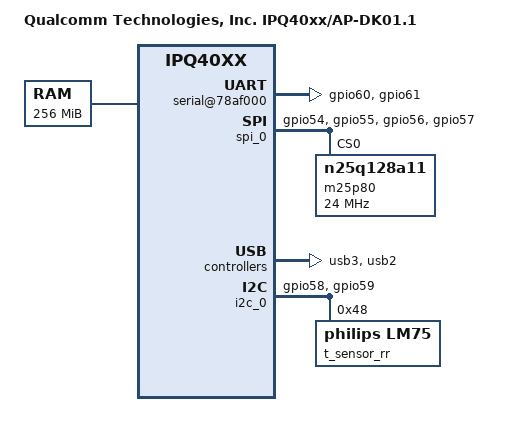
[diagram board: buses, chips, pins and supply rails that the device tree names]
/* Copyright (c) 2015, The Linux Foundation. All rights reserved.
 *
 * Permission to use, copy, modify, and/or distribute this software for any
 * purpose with or without fee is hereby granted, provided that the above
 * copyright notice and this permission notice appear in all copies.
 *
 * THE SOFTWARE IS PROVIDED "AS IS" AND THE AUTHOR DISCLAIMS ALL WARRANTIES
 * WITH REGARD TO THIS SOFTWARE INCLUDING ALL IMPLIED WARRANTIES OF
 * MERCHANTABILITY AND FITNESS. IN NO EVENT SHALL THE AUTHOR BE LIABLE FOR
 * ANY SPECIAL, DIRECT, INDIRECT, OR CONSEQUENTIAL DAMAGES OR ANY DAMAGES
 * WHATSOEVER RESULTING FROM LOSS OF USE, DATA OR PROFITS, WHETHER IN AN
 * ACTION OF CONTRACT, NEGLIGENCE OR OTHER TORTIOUS ACTION, ARISING OUT OF
 * OR IN CONNECTION WITH THE USE OR PERFORMANCE OF THIS SOFTWARE.
 *
 */

#include "qcom-ipq40xx.dtsi"
#include <dt-bindings/input/input.h>
#include <dt-bindings/gpio/gpio.h>

/ {
	model = "Qualcomm Technologies, Inc. IPQ40xx/AP-DK01.1";
	compatible = "qcom,ipq40xx-apdk01.1", "qcom,ipq40xx";

	memory {
		device_type = "memory";
		reg = <0x80000000 0x10000000>; /* 256MB */
	};

	reserved-memory {
		#address-cells = <1>;
		#size-cells = <1>;
		ranges;
		rsvd1@87000000 {
			/* Reserved for other subsystem */
			reg = <0x87000000 0x500000>;
			no-map;
		};
		wifi_dump@87500000 {
			reg = <0x87500000 0x600000>;
			no-map;
		};
		rsvd2@87B00000 {
			/* Reserved for other subsystem */
			reg = <0x87B00000 0x500000>;
			no-map;
		};
	};

	chosen {
		bootargs-append = " clk_ignore_unused";
	};

};
	&soc {
		pinctrl@0x01000000 {
			mdio_pins: mdio_pinmux {
				mux_1 {
					pins = "gpio53";
					function = "mdio1";
					bias-pull-up;
				};
				mux_2 {
					pins = "gpio52";
					function = "mdc";
					bias-pull-up;
				};
			};

			serial_pins: serial_pinmux {
				mux {
					pins = "gpio60", "gpio61";
					function = "blsp_uart0";
					bias-disable;
				};
			};

			spi_0_pins: spi_0_pinmux {
				mux {
					pins = "gpio54", "gpio55", "gpio56", "gpio57";
					function = "blsp_spi0";
					bias-disable;
				};
			};
			i2c_0_pins: i2c_0_pinmux {
				mux {
					pins = "gpio58", "gpio59";
					function = "blsp_i2c0";
					bias-disable;
				};
			};
			
			pps_pin: pps_pinmux {
				mux_pps {
					pin = "gpio5";
					input-enable;
				};
			};
			
			dgasp_pin: dgasp_pinmux {
				mux_dgasp {
					pin = "gpio63";
					input-enable;
				};
			};
						
			gpio_led_pins: gpio_led_pinmux {
				ap_status {
					pins = "gpio0";
					output-low;
				};
				wlan24 {
					pins = "gpio1";
                    output-low;
				};
				wlan5 {
					pins = "gpio2";
                    output-low;
				};
				lan1 {
					pins = "gpio4";
					output-low;
				};
			
			};
		};

		serial@78af000 {
			pinctrl-0 = <&serial_pins>;
			pinctrl-names = "default";
			status = "ok";
		};

		spi_0: spi@78b5000 { /* BLSP1 QUP1 */
			pinctrl-0 = <&spi_0_pins>;
			pinctrl-names = "default";
			status = "ok";

			m25p80@0 {
				#address-cells = <1>;
				#size-cells = <1>;
				compatible = "n25q128a11";
				reg = <0>;
				linux,modalias = "m25p80", "n25q128a11";
				spi-max-frequency = <24000000>;
				use-default-sizes;
			};
		};

		tcsr: tcsr@194b000 {
			status = "ok";
		};

		usb3_ss_phy: ssphy@0 {
			status = "ok";
		};

		dummy_ss_phy: ssphy@1 {
			status = "ok";
		};

		usb3_hs_phy: hsphy@a6000 {
			status = "ok";
		};

		usb2_hs_phy: hsphy@a8000 {
			status = "ok";
		};

		usb3: usb3@8a00000 {
			status = "ok";
		};

		usb2: usb2@6000000 {
			status = "ok";
		};

		qcom_crypto: qcrypto@8e20000 {
			status = "ok";
		};

		qcom_cedev: qcedev@8e20000 {
			status = "ok";
		};

		ess-switch@c000000 {
			switch_mac_mode = <0x0>; /* mac mode for RGMII RMII */
			switch_initvlas = <
				0x0007c 0x54 /* PORT0_STATUS */
			>;
		};
		i2c_0: i2c@78b7000 { /* BLSP1 QUP2 */
			pinctrl-0 = <&i2c_0_pins>;
			pinctrl-1 = <&i2c_0_pins>;
			pinctrl-names = "i2c_active", "i2c_sleep";
			status = "ok";

			t_sensor_rr: lm75@48{
				compatible = "philips,lm75";
				reg = <0x48>;
				status = "ok";
			};
		};

		gpio_led {
			pinctrl-0 = <&gpio_led_pins>;
			pinctrl-names = "default";
			status = "ok";
		};
		
		gpio_pps {
			pinctrl-0 = <&pps_pin>;
			pinctrl-names = "default";
			status = "ok";		
		};
		
		gpio_dgasp {
			pinctrl-0 = <&dgasp_pin>;
			pinctrl-names = "default";
			status = "ok";		
		};
		
		wifi0: wifi@a000000 {
			wifi-led-gpios = <&tlmm 58 GPIO_ACTIVE_LOW>;
		};

		wifi1: wifi@a800000 {
			wifi-led-gpios = <&tlmm 58 GPIO_ACTIVE_LOW>;
		};

	};
